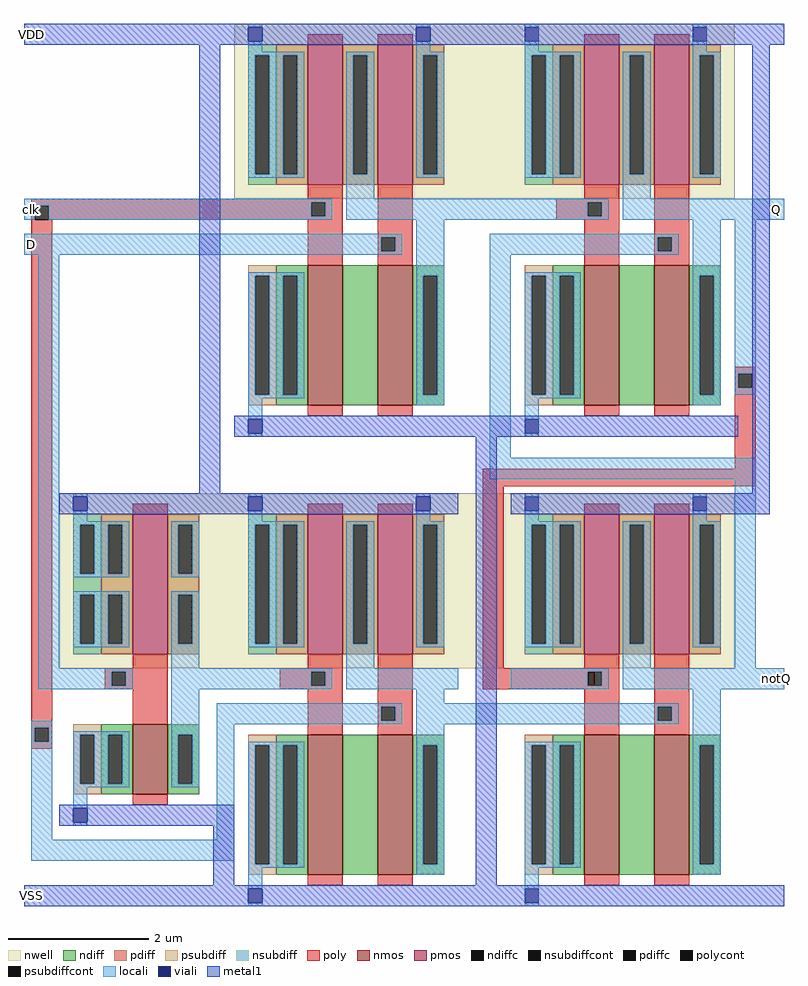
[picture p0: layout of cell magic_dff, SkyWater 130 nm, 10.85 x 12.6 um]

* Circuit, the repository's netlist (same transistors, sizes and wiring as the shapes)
* NGSPICE file created from magic_dff.ext - technology: sky130A

.subckt magic_nand A B Y VDD VSS
X0 Y A VDD VDD sky130_fd_pr__pfet_01v8 ad=0.5 pd=2.5 as=0.9 ps=4.9 w=2 l=0.5
**devattr s=36000,980 d=20000,500
X1 Y B a_100_n230# VSS sky130_fd_pr__nfet_01v8 ad=0.9 pd=4.9 as=0.5 ps=2.5 w=2 l=0.5
**devattr s=20000,500 d=36000,980
X2 a_100_n230# A VSS VSS sky130_fd_pr__nfet_01v8 ad=0.5 pd=2.5 as=0.9 ps=4.9 w=2 l=0.5
**devattr s=36000,980 d=20000,500
X3 VDD B Y VDD sky130_fd_pr__pfet_01v8 ad=0.9 pd=4.9 as=0.5 ps=2.5 w=2 l=0.5
**devattr s=20000,500 d=36000,980
.ends

.subckt magic_inv X Y VDD VSS
X0 Y X VDD VDD sky130_fd_pr__pfet_01v8 ad=0.9 pd=4.9 as=0.9 ps=4.9 w=2 l=0.5
**devattr s=36000,980 d=36000,980
X1 Y X VSS VSS sky130_fd_pr__nfet_01v8 ad=0.45 pd=2.9 as=0.45 ps=2.9 w=1 l=0.5
**devattr s=18000,580 d=18000,580
.ends

.subckt magic_dff D clk Q notQ VDD VSS
Xmagic_nand_0 magic_nand_3/Y notQ Q VDD VSS magic_nand
Xmagic_nand_1 Q magic_nand_2/Y notQ VDD VSS magic_nand
Xmagic_nand_2 magic_inv_0/Y clk magic_nand_2/Y VDD VSS magic_nand
Xmagic_nand_3 clk D magic_nand_3/Y VDD VSS magic_nand
Xmagic_inv_0 D magic_inv_0/Y VDD VSS magic_inv
.ends

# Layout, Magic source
magic
tech sky130A
<< nwell >>
rect -395 340 110 590
rect -450 -330 -350 -80
rect -130 -330 90 -80
<< poly >>
rect -685 330 -295 340
rect -685 310 -680 330
rect -660 310 -295 330
rect -685 -415 -655 310
rect 320 90 350 100
rect 320 70 325 90
rect 345 70 350 90
rect 320 -45 350 70
rect -40 -70 350 -45
rect -40 -330 -10 -70
rect -40 -360 120 -330
rect -685 -435 -680 -415
rect -660 -435 -655 -415
rect -685 -445 -655 -435
<< polycont >>
rect -680 310 -660 330
rect 325 70 345 90
rect -680 -435 -660 -415
<< locali >>
rect -695 330 -305 340
rect -695 310 -680 330
rect -660 310 -305 330
rect -80 310 30 340
rect 300 310 390 340
rect -695 260 -390 290
rect -30 260 20 290
rect -675 -360 -645 260
rect -30 -30 0 260
rect 320 90 350 310
rect 320 70 325 90
rect 345 70 350 90
rect 320 60 350 70
rect -30 -60 350 -30
rect 320 -330 350 -60
rect -440 -360 -365 -330
rect 0 -360 20 -330
rect 300 -360 390 -330
rect -685 -415 -655 -405
rect -685 -435 -680 -415
rect -660 -435 -655 -415
rect -685 -575 -655 -435
rect -420 -575 -395 -380
rect -100 -410 20 -380
rect -685 -605 -395 -575
<< metal1 >>
rect -695 560 -385 590
rect -80 560 390 590
rect -445 -80 -415 560
rect -80 0 320 30
rect -445 -85 -390 -80
rect -435 -110 -390 -85
rect -425 -640 -395 -525
rect -50 -640 -20 0
rect 345 -80 370 560
rect 0 -110 370 -80
rect -695 -670 -395 -640
rect -80 -670 390 -640
use magic_inv  magic_inv_0 ~/EE431
transform 1 0 -540 0 1 -510
box -105 -45 115 430
use magic_nand  magic_nand_0 ~/EE431
transform 1 0 105 0 1 160
box -105 -160 220 430
use magic_nand  magic_nand_1
transform 1 0 105 0 1 -510
box -105 -160 220 430
use magic_nand  magic_nand_2
transform 1 0 -290 0 1 -510
box -105 -160 220 430
use magic_nand  magic_nand_3
transform 1 0 -290 0 1 160
box -105 -160 220 430
<< labels >>
rlabel locali -695 310 -675 340 7 clk
port 2 w
rlabel locali -695 260 -675 290 7 D
port 1 w
rlabel locali 370 310 390 340 3 Q
port 3 e
rlabel locali 370 -360 390 -330 3 notQ
port 4 e
rlabel metal1 -695 560 -675 590 7 VDD
port 5 w
rlabel metal1 -695 -670 -675 -640 7 VSS
port 6 w
<< end >>

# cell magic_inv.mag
magic
tech sky130A
<< nwell >>
rect -105 180 115 430
<< nmos >>
rect 0 0 50 100
<< pmos >>
rect 0 200 50 400
<< ndiff >>
rect -45 85 0 100
rect -45 15 -35 85
rect -15 15 0 85
rect -45 0 0 15
rect 50 85 95 100
rect 50 15 65 85
rect 85 15 95 85
rect 50 0 95 15
<< pdiff >>
rect -45 385 0 400
rect -45 315 -35 385
rect -15 315 0 385
rect -45 285 0 315
rect -45 215 -35 285
rect -15 215 0 285
rect -45 200 0 215
rect 50 385 95 400
rect 50 315 65 385
rect 85 315 95 385
rect 50 285 95 315
rect 50 215 65 285
rect 85 215 95 285
rect 50 200 95 215
<< ndiffc >>
rect -35 15 -15 85
rect 65 15 85 85
<< pdiffc >>
rect -35 315 -15 385
rect -35 215 -15 285
rect 65 315 85 385
rect 65 215 85 285
<< psubdiff >>
rect -85 85 -45 100
rect -85 15 -75 85
rect -55 15 -45 85
rect -85 0 -45 15
<< nsubdiff >>
rect -85 385 -45 400
rect -85 315 -75 385
rect -55 315 -45 385
rect -85 285 -45 315
rect -85 215 -75 285
rect -55 215 -45 285
rect -85 200 -45 215
<< psubdiffcont >>
rect -75 15 -55 85
<< nsubdiffcont >>
rect -75 315 -55 385
rect -75 215 -55 285
<< poly >>
rect 0 400 50 415
rect 0 180 50 200
rect -40 175 50 180
rect -40 155 -30 175
rect -10 155 50 175
rect -40 150 50 155
rect 0 100 50 150
rect 0 -15 50 0
<< polycont >>
rect -30 155 -10 175
<< locali >>
rect -85 425 -65 430
rect -85 390 -65 405
rect -85 385 -5 390
rect -85 315 -75 385
rect -55 315 -35 385
rect -15 315 -5 385
rect -85 310 -5 315
rect 55 385 95 390
rect 55 315 65 385
rect 85 315 95 385
rect 55 310 95 315
rect -85 285 -5 290
rect -85 215 -75 285
rect -55 215 -35 285
rect -15 215 -5 285
rect -85 210 -5 215
rect 55 285 95 290
rect 55 215 65 285
rect 85 215 95 285
rect 55 180 95 215
rect -105 175 0 180
rect -105 155 -30 175
rect -10 155 0 175
rect -105 150 0 155
rect 55 150 115 180
rect -85 85 -5 90
rect -85 15 -75 85
rect -55 15 -35 85
rect -15 15 -5 85
rect -85 10 -5 15
rect 55 85 95 150
rect 55 15 65 85
rect 85 15 95 85
rect 55 10 95 15
rect -85 -20 -65 10
rect -85 -45 -65 -40
<< viali >>
rect -85 405 -65 425
rect -85 -40 -65 -20
<< metal1 >>
rect -105 425 115 430
rect -105 405 -85 425
rect -65 405 115 425
rect -105 400 115 405
rect -105 -20 115 -15
rect -105 -40 -85 -20
rect -65 -40 115 -20
rect -105 -45 115 -40
<< labels >>
rlabel locali -105 150 -85 180 7 X
port 1 w
rlabel locali 95 150 115 180 3 Y
port 2 e
rlabel metal1 -105 400 -85 430 7 VDD
port 3 w
rlabel metal1 -105 -45 -85 -15 7 VSS
port 4 w
<< end >>

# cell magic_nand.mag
magic
tech sky130A
<< nwell >>
rect -105 180 215 430
<< nmos >>
rect 0 -115 50 85
rect 100 -115 150 85
<< pmos >>
rect 0 200 50 400
rect 100 200 150 400
<< ndiff >>
rect -45 70 0 85
rect -45 -100 -35 70
rect -15 -100 0 70
rect -45 -115 0 -100
rect 50 -115 100 85
rect 150 70 195 85
rect 150 -100 165 70
rect 185 -100 195 70
rect 150 -115 195 -100
<< pdiff >>
rect -45 385 0 400
rect -45 215 -35 385
rect -15 215 0 385
rect -45 200 0 215
rect 50 385 100 400
rect 50 215 65 385
rect 85 215 100 385
rect 50 200 100 215
rect 150 385 195 400
rect 150 215 165 385
rect 185 215 195 385
rect 150 200 195 215
<< ndiffc >>
rect -35 -100 -15 70
rect 165 -100 185 70
<< pdiffc >>
rect -35 215 -15 385
rect 65 215 85 385
rect 165 215 185 385
<< psubdiff >>
rect -85 70 -45 85
rect -85 -100 -75 70
rect -55 -100 -45 70
rect -85 -115 -45 -100
<< nsubdiff >>
rect -85 385 -45 400
rect -85 215 -75 385
rect -55 215 -45 385
rect -85 200 -45 215
<< psubdiffcont >>
rect -75 -100 -55 70
<< nsubdiffcont >>
rect -75 215 -55 385
<< poly >>
rect 0 400 50 415
rect 100 400 150 415
rect 0 180 50 200
rect -40 175 50 180
rect -40 155 5 175
rect 25 155 50 175
rect -40 150 50 155
rect 0 85 50 150
rect 100 125 150 200
rect 100 105 105 125
rect 125 105 150 125
rect 100 85 150 105
rect 0 -130 50 -115
rect 100 -130 150 -115
<< polycont >>
rect 5 155 25 175
rect 105 105 125 125
<< locali >>
rect -85 425 -65 430
rect -85 390 -65 405
rect 155 425 175 430
rect 155 390 175 405
rect -85 385 -5 390
rect -85 215 -75 385
rect -55 215 -35 385
rect -15 215 -5 385
rect -85 210 -5 215
rect 55 385 95 390
rect 55 215 65 385
rect 85 215 95 385
rect 55 180 95 215
rect 155 385 195 390
rect 155 215 165 385
rect 185 215 195 385
rect 155 210 195 215
rect -105 175 35 180
rect -105 155 5 175
rect 25 155 35 175
rect -105 150 35 155
rect 55 150 215 180
rect -105 125 135 130
rect -105 105 105 125
rect 125 105 135 125
rect -105 100 135 105
rect -85 70 -5 75
rect -85 -100 -75 70
rect -55 -100 -35 70
rect -15 -100 -5 70
rect -85 -105 -5 -100
rect 155 70 195 150
rect 155 -100 165 70
rect 185 -100 195 70
rect -85 -135 -65 -105
rect 155 -115 195 -100
rect -85 -160 -65 -155
<< viali >>
rect -85 405 -65 425
rect 155 405 175 425
rect -85 -155 -65 -135
<< metal1 >>
rect -105 425 215 430
rect -105 405 -85 425
rect -65 405 155 425
rect 175 405 215 425
rect -105 400 215 405
rect -105 -135 220 -130
rect -105 -155 -85 -135
rect -65 -155 220 -135
rect -105 -160 220 -155
<< labels >>
rlabel locali -105 150 -85 180 7 A
port 1 w
rlabel locali -105 100 -85 130 7 B
port 2 w
rlabel locali 195 150 215 180 3 Y
port 3 e
rlabel metal1 -105 400 -85 430 7 VDD
port 4 w
rlabel metal1 -105 -160 -85 -130 7 VSS
port 5 w
<< end >>
